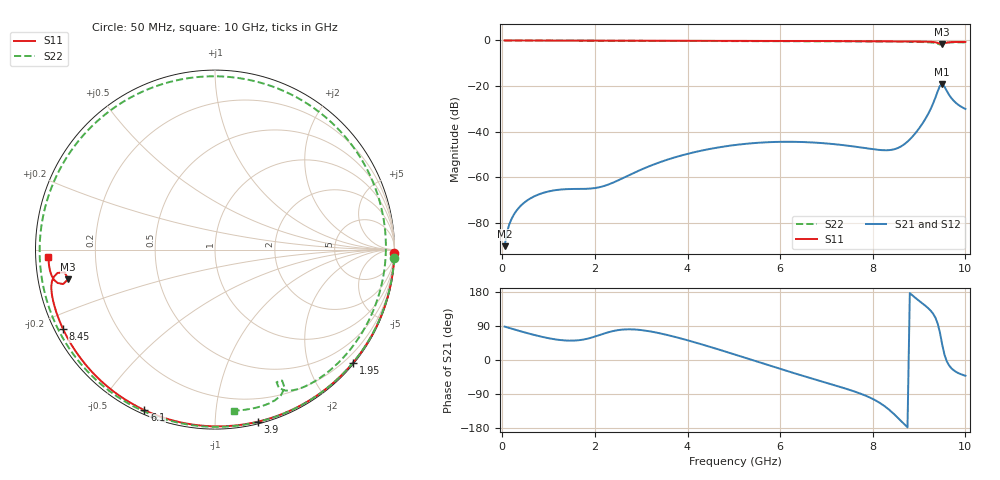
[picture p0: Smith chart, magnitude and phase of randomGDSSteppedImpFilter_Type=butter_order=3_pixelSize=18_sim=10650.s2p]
! freq	dB(S11)	phase(S11)	dB(S12)	phase(S12)
!  dB(S21)	phase(S21)	dB(S22)	phase(S22)
!S-par simulation data
#  GHz  S  DB  R 50
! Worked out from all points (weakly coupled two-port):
!   200 points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, 50 MHz to 10 GHz, reference 50 ohm
!   highest |S21| = -19.08 dB at 9.5 GHz (marker M1); lowest = -90.2 dB at 50 MHz (marker M2)
!   lowest |S11| = -1.6 dB at 9.5 GHz (marker M3), VSWR 11.07, Z = 4.56 - j4.96 ohm
!   |S11| at or under -10 dB: nowhere
!   |S22| runs from -1.8 to 0.0 dB; largest |S21 - S12| = 0
!   S11 on the Smith chart (normalised r, x): 50 MHz: open; 1.95 GHz: 0.03, -2.80; 3.9 GHz: 0.02, -1.28; 6.1 GHz: 0.02, -0.65; 8.45 GHz: 0.02, -0.25; 10 GHz: 0.04, -0.02
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0.05  -0.00 -1.0  -90.22 88.2  -90.22 88.2  -0.00 -2.7
0.15  -0.00 -3.1  -80.72 84.5  -80.72 84.5  -0.01 -8.0
0.4  -0.01 -8.2  -72.47 75.6  -72.47 75.6  -0.03 -21.1
0.75  -0.02 -15.3  -67.82 64.2  -67.82 64.2  -0.05 -39.2
1.25  -0.03 -25.4  -65.40 52.7  -65.40 52.7  -0.08 -64.5
1.75  -0.05 -35.3  -65.10 53.9  -65.10 53.9  -0.11 -88.8
1.95  -0.05 -39.3  -64.87 59.9  -64.87 59.9  -0.12 -98.3
2.75  -0.07 -54.7  -58.96 81.0  -58.96 81.0  -0.15 -134.8
3.4  -0.09 -66.8  -53.42 70.5  -53.42 70.5  -0.18 -163.4
3.9  -0.10 -75.9  -50.27 55.4  -50.27 55.4  -0.21 174.7
4.45  -0.12 -85.7  -47.71 36.0  -47.71 36.0  -0.24 150.5
5.05  -0.15 -96.1  -45.80 13.4  -45.80 13.4  -0.27 123.6
5.6  -0.17 -105.4  -44.78 -7.9  -44.78 -7.9  -0.29 98.5
6.1  -0.20 -113.7  -44.44 -27.2  -44.44 -27.2  -0.32 75.5
6.7  -0.24 -123.6  -44.74 -49.4  -44.74 -49.4  -0.35 48.0
7.5  -0.30 -136.6  -46.25 -78.8  -46.25 -78.8  -0.40 12.4
8.35  -0.39 -150.7  -48.11 -130.9  -48.11 -130.9  -0.50 -23.0
8.45  -0.40 -152.4  -47.78 -141.7  -47.78 -141.7  -0.52 -27.0
9  -0.48 -162.2  -38.57 156.2  -38.57 156.2  -0.67 -48.8
9.5  -1.57 -168.6  -19.08 40.5  -19.08 40.5  -1.73 -62.9
9.75  -0.68 -171.9  -26.50 -27.4  -26.50 -27.4  -0.82 -73.0
10  -0.64 -177.3  -30.04 -41.6  -30.04 -41.6  -0.87 -83.2
